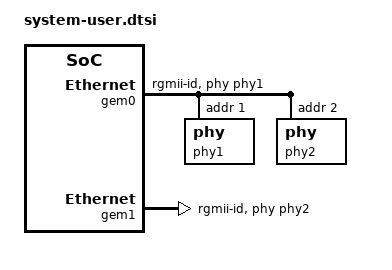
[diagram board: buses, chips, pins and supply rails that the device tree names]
/* Copyright 2022 Xilinx Inc.
*
* Licensed under the Apache License, Version 2.0 (the "License");
* you may not use this file except in compliance with the License.
* You may obtain a copy of the License at
*
* http://www.apache.org/licenses/LICENSE-2.0
*
* Unless required by applicable law or agreed to in writing, software
* distributed under the License is distributed on an "AS IS" BASIS,
* WITHOUT WARRANTIES OR CONDITIONS OF ANY KIND, either express or implied.
* See the License for the specific language governing permissions and
* limitations under the License.
*/


/include/ "system-conf.dtsi"
/ {
	chosen {
		stdout-path = "serial0:115200";
	};
};

&gem0 { /* PMC_MIO_48, LPD_MIO0-11/24/25 */
   status = "okay";
   phy-handle = <&phy1>; /* u128 */
   phy-mode = "rgmii-id";
   phy1: phy@1 {
      reg = <1>;
      ti,rx-internal-delay = <0xb>;
      ti,tx-internal-delay = <0xa>;
      ti,fifo-depth = <1>;
      ti,dp83867-rxctrl-strap-quirk;
   };
   phy2: phy@2 {
      reg = <2>;
      ti,rx-internal-delay = <0xb>;
      ti,tx-internal-delay = <0xa>;
      ti,fifo-depth = <1>;
      ti,dp83867-rxctrl-strap-quirk;
   };
};

&gem1 { /* PMC_MIO_49, LPD_MIO12-23 */
   status = "okay";
   phy-handle = <&phy2>; /* u134 */
   phy-mode = "rgmii-id";
};

